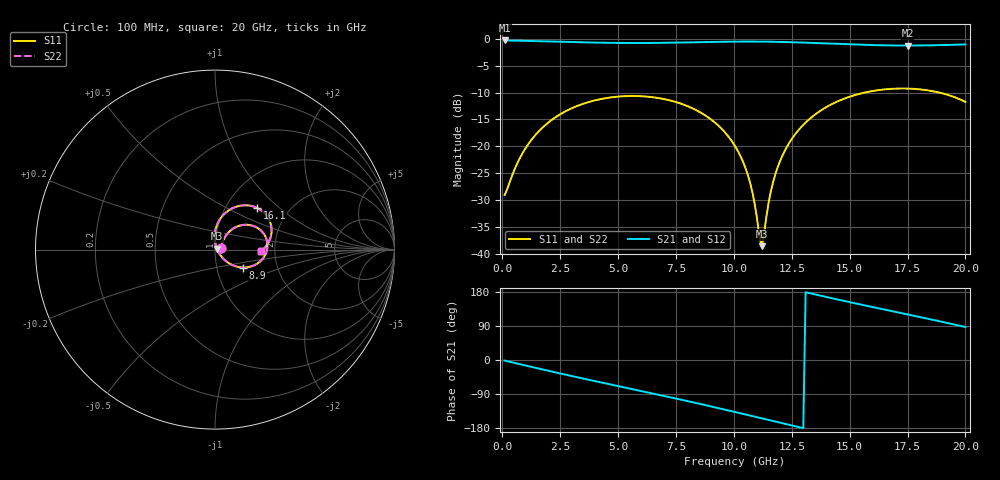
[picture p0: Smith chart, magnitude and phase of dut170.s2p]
! Touchstone file exported from HFSS 2026.1.0
!  File:  C:/ffzhzh/LocalFiles/Ansys_Project_Files/temp_train_TSV_RDL_170_1783055441_46780.aedt
!  Generated:  01:19:45 PM Jul  3, 2026
!  Design:  TSV_RDL
!  Project:  temp_train_TSV_RDL_170_1783055441_46780
! Variables:
!  h_bsmrdl = 5.31um
!  h_ox = 20um
!  h_rdl = 5um
!  h_sub = 98.87um
!  h_tmrdl = 2.31um
!  h_tsv = 98.87um
!  h_via = 3um
!  l_bsmrdl = 428.71um
!  l_sub = 3619.57um
!  l_tmrdl = 464.91um
!  m_sub = 200um
!  pitch = 31.46um
!  r_tsv = 12.94um
!  s_tmrdl = 10um
!  w_bsmrdl = 14.21um
!  w_sub = 500um
!  w_tmrdl = 10.39um
!  x_tsv_center1 = 470.105um
!  x_tsv_center2 = 913.025um
!  x_tsv_center3 = 1388.325um
!  x_tsv_center4 = 1831.245um
!  x_tsv_center5 = 2306.545um
!  x_tsv_center6 = 2749.465um
# GHz S MA R 50.000000
! Terminal data exported
! Port[1] = TM_RDL1_1_T1
! Port[2] = TM_RDL5_1_T1
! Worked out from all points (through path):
!   200 points, 100 MHz to 20 GHz, reference 50 ohm
!   highest |S21| = -0.30 dB at 100 MHz (marker M1); lowest = -1.2 dB at 17.5 GHz (marker M2)
!   group delay of S21, straight-line fit = 38 ps
!   lowest |S11| = -38.6 dB at 11.2 GHz (marker M3), VSWR 1.02, Z = 51.1 + j0.467 ohm
!   |S11| at or under -10 dB: start of sweep to 15.66 GHz; 18.87 GHz to end of sweep
!   |S22| runs from -38.7 to -9.2 dB; largest |S21 - S12| = 1.9e-14
!   S11 on the Smith chart (normalised r, x): 100 MHz: 1.07, +0.02; 8.9 GHz: 1.34, -0.28; 16.1 GHz: 1.39, +0.73; 20 GHz: 1.70, -0.02
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0.1  0.03505 14.6  0.9663 -1.5  0.9663 -1.5  0.03505 14.6
! Gamma 0 0 0 0
! Port Impedance 50 0 50 0
0.7  0.07316 49.2  0.9609 -10.3  0.9609 -10.3  0.07316 49.2
1.4  0.125 51.6  0.9536 -20.3  0.9536 -20.3  0.125 51.6
2.3  0.1862 45.0  0.9426 -32.8  0.9426 -32.8  0.1862 45.0
3.5  0.2488 32.3  0.928 -49.1  0.928 -49.1  0.2488 32.2
5.2  0.2918 12.5  0.9155 -71.5  0.9155 -71.5  0.2919 12.4
6.8  0.2796 -6.8  0.9178 -92.4  0.9178 -92.4  0.2796 -6.8
8.9  0.1851 -32.6  0.935 -120.9  0.935 -120.9  0.1851 -32.7
10.1  0.0962 -45.6  0.9428 -137.9  0.9428 -137.9  0.09623 -45.7
10.7  0.04583 -46.2  0.9438 -146.6  0.9438 -146.6  0.04584 -46.4
10.9  0.02911 -40.1  0.9435 -149.5  0.9435 -149.5  0.0291 -40.3
11.1  0.01464 -13.5  0.9429 -152.4  0.9429 -152.4  0.01456 -14.0
11.2  0.01171 22.9  0.9425 -153.9  0.9425 -153.9  0.01157 22.7
11.6  0.03811 88.5  0.9401 -159.7  0.9401 -159.7  0.03801 88.7
12  0.0731 91.6  0.9365 -165.5  0.9365 -165.5  0.07303 91.7
12.6  0.125 87.1  0.9291 -174.2  0.9291 -174.2  0.125 87.2
13.4  0.1893 78.0  0.9164 174.5  0.9164 174.5  0.1892 78.1
14.6  0.2683 63.3  0.8951 158.0  0.8951 158.0  0.2683 63.3
16.1  0.3296 45.0  0.8738 138.3  0.8738 138.3  0.3295 45.0
16.7  0.3411 37.8  0.869 130.6  0.869 130.6  0.341 37.8
17.5  0.3444 28.3  0.8668 120.3  0.8668 120.3  0.3443 28.3
20  0.2588 -1.3  0.8876 87.0  0.8876 87.0  0.2588 -1.2
